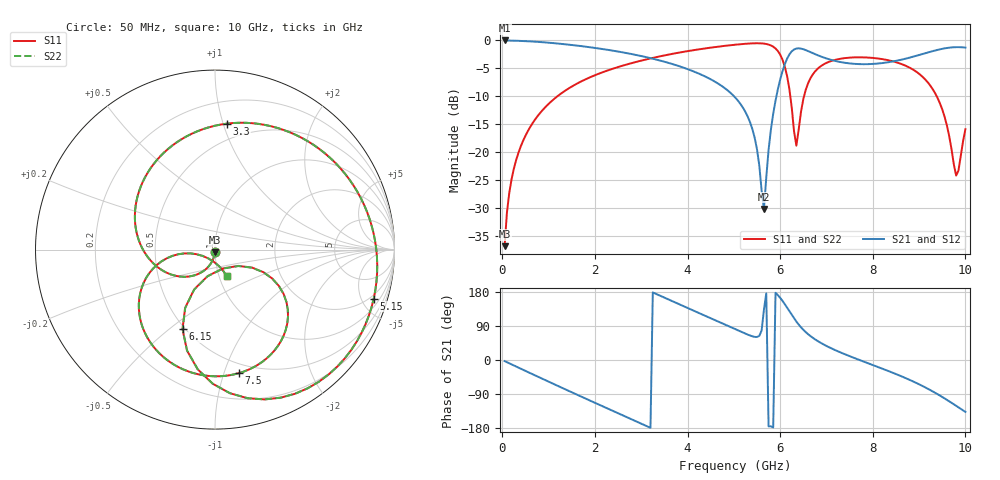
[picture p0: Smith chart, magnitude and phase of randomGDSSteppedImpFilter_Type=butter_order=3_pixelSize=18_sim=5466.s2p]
! freq	dB(S11)	phase(S11)	dB(S12)	phase(S12)
!  dB(S21)	phase(S21)	dB(S22)	phase(S22)
!S-par simulation data
#  GHz  S  DB  R 50
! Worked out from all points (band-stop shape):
!   200 points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, 50 MHz to 10 GHz, reference 50 ohm
!   highest |S21| = 0.00 dB at 50 MHz (marker M1); lowest = -30.2 dB at 5.65 GHz (marker M2)
!   |S21| within 3 dB of the highest: start of sweep to 3.113 GHz; 8.832 GHz to end of sweep (the widest 2 of 3)
!   lowest |S11| = -36.9 dB at 50 MHz (marker M3), VSWR 1.03, Z = 49.9 - j1.43 ohm
!   |S11| at or under -10 dB: start of sweep to 1.192 GHz; 6.219 GHz to 6.516 GHz (297.4 MHz wide, 4.67 % of centre); 9.38 GHz to end of sweep
!   |S22| runs from -36.9 to -0.5 dB; largest |S21 - S12| = 0
!   S11 on the Smith chart (normalised r, x): 50 MHz: 1.00, -0.03; 3.3 GHz: 0.37, +1.03; 5.15 GHz: 1.64, -6.22; 6.15 GHz: 0.48, -0.56; 7.5 GHz: 0.42, -1.12; 10 GHz: 1.09, -0.33
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0.05  -36.88 -92.7  -0.00 -2.9  -0.00 -2.9  -36.88 -92.7
0.2  -24.89 -101.7  -0.03 -11.6  -0.03 -11.6  -24.89 -101.7
0.5  -17.08 -119.3  -0.13 -28.8  -0.13 -28.8  -17.08 -119.3
1.15  -10.27 -156.3  -0.51 -65.6  -0.51 -65.6  -10.27 -156.3
1.75  -7.16 170.1  -1.06 -99.1  -1.06 -99.1  -7.16 170.1
2.55  -4.64 125.9  -2.06 -143.3  -2.06 -143.3  -4.64 125.9
3.3  -3.04 84.6  -3.38 175.5  -3.38 175.5  -3.04 84.6
3.4  -2.86 79.2  -3.59 170.0  -3.59 170.0  -2.86 79.2
4.2  -1.65 35.6  -5.79 126.4  -5.79 126.4  -1.65 35.6
5.05  -0.75 -11.2  -10.42 80.3  -10.42 80.3  -0.75 -11.2
5.15  -0.67 -17.1  -11.47 74.9  -11.47 74.9  -0.67 -17.1
5.45  -0.51 -36.4  -17.45 61.0  -17.45 61.0  -0.51 -36.4
5.65  -0.57 -51.8  -30.21 132.9  -30.21 132.9  -0.57 -51.8
5.85  -1.12 -71.6  -13.15 -177.9  -13.15 -177.9  -1.12 -71.6
6.15  -6.40 -112.2  -3.27 138.1  -3.27 138.1  -6.39 -112.1
6.35  -18.86 -66.8  -1.46 101.4  -1.46 101.4  -18.80 -66.8
6.7  -6.15 -36.1  -2.26 59.0  -2.26 59.0  -6.15 -36.2
7.5  -3.08 -79.0  -4.12 10.1  -4.12 10.1  -3.08 -79.0
8.35  -3.58 -116.1  -3.89 -29.7  -3.89 -29.7  -3.58 -116.1
9.35  -9.52 -165.3  -1.79 -86.7  -1.79 -86.7  -9.52 -165.3
9.8  -24.22 -126.9  -1.20 -120.8  -1.20 -120.8  -24.22 -126.9
10  -15.91 -66.2  -1.28 -137.0  -1.28 -137.0  -15.91 -66.2
